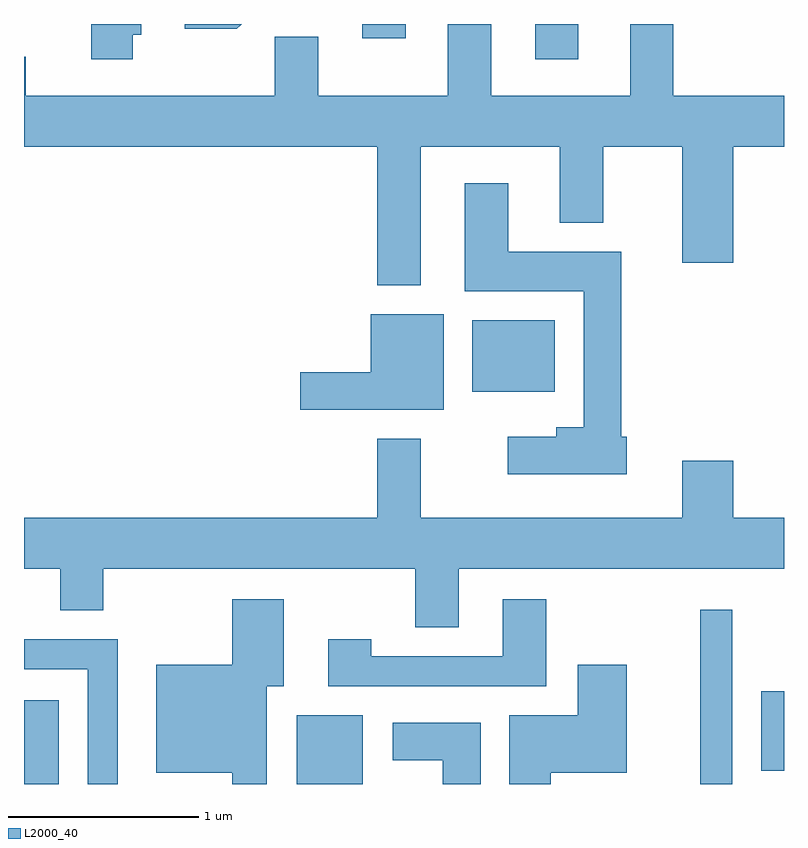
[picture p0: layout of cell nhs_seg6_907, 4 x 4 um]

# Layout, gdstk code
import gdstk
lib = gdstk.Library(unit=1e-6, precision=1e-09)
def R(c, l, rs):  # rectangles x0, y0, x1, y1
    for r in rs: c.add(gdstk.rectangle(r[:2], r[2:], *l))
def P(c, l, *ps):  # polygons
    for p in ps: c.add(gdstk.Polygon(p, *l))
L2000_40 = (2000, 40)

nhs_seg6_907 = lib.new_cell('nhs_seg6_907')
R(nhs_seg6_907, L2000_40, [(211.611,1622.162,211.794,1622.604), (213.046,1622.162,213.394,1622.524), (215.171,1622.162,215.339,1623.078), (215.491,1622.231,215.611,1622.649), (213.971,1624.226,214.404,1624.604), (214.301,1625.976,214.529,1626.162), (213.391,1626.086,213.619,1626.162)])
P(nhs_seg6_907, L2000_40, [(213.699,1625.516),(214.431,1625.516),(214.431,1625.116),(214.659,1625.116),(214.659,1625.516),(215.076,1625.516),(215.076,1624.906),(215.344,1624.906),(215.344,1625.516),(215.611,1625.516),(215.611,1625.784),(215.029,1625.784),(215.029,1626.162),(214.801,1626.162),(214.801,1625.784),(214.069,1625.784),(214.069,1626.162),(213.841,1626.162),(213.841,1625.784),(213.159,1625.784),(213.159,1626.094),(212.931,1626.094),(212.931,1625.784),(211.619,1625.784),(211.619,1625.989),(211.611,1625.989),(211.611,1625.516),(213.471,1625.516),(213.471,1624.786),(213.699,1624.786)],
  [(212.184,1626.106),(212.229,1626.106),(212.229,1626.162),(211.966,1626.162),(211.966,1625.976),(212.184,1625.976)],
  [(212.758,1626.162),(212.458,1626.162),(212.458,1626.136),(212.732,1626.136)],
  [(214.784,1623.989),(214.754,1623.989),(214.754,1624.964),(214.159,1624.964),(214.159,1625.324),(213.931,1625.324),(213.931,1624.756),(214.556,1624.756),(214.556,1624.039),(214.411,1624.039),(214.411,1623.989),(214.156,1623.989),(214.156,1623.791),(214.784,1623.791)],
  [(213.819,1624.634),(213.436,1624.634),(213.436,1624.329),(213.066,1624.329),(213.066,1624.131),(213.819,1624.131)],
  [(213.899,1623.296),(215.611,1623.296),(215.611,1623.564),(215.344,1623.564),(215.344,1623.864),(215.076,1623.864),(215.076,1623.564),(213.699,1623.564),(213.699,1623.979),(213.471,1623.979),(213.471,1623.564),(211.611,1623.564),(211.611,1623.296),(211.801,1623.296),(211.801,1623.076),(212.029,1623.076),(212.029,1623.296),(213.671,1623.296),(213.671,1622.986),(213.899,1622.986)],
  [(212.889,1622.676),(212.979,1622.676),(212.979,1623.134),(212.706,1623.134),(212.706,1622.789),(212.306,1622.789),(212.306,1622.221),(212.706,1622.221),(212.706,1622.162),(212.889,1622.162)],
  [(214.359,1623.134),(214.131,1623.134),(214.131,1622.834),(213.439,1622.834),(213.439,1622.924),(213.211,1622.924),(213.211,1622.676),(214.359,1622.676)],
  [(212.104,1622.924),(211.611,1622.924),(211.611,1622.766),(211.946,1622.766),(211.946,1622.162),(212.104,1622.162)],
  [(214.384,1622.221),(214.784,1622.221),(214.784,1622.789),(214.526,1622.789),(214.526,1622.524),(214.166,1622.524),(214.166,1622.162),(214.384,1622.162)],
  [(214.014,1622.484),(213.551,1622.484),(213.551,1622.286),(213.816,1622.286),(213.816,1622.162),(214.014,1622.162)])

lib.write_gds('nhs_seg6_907.gds')
